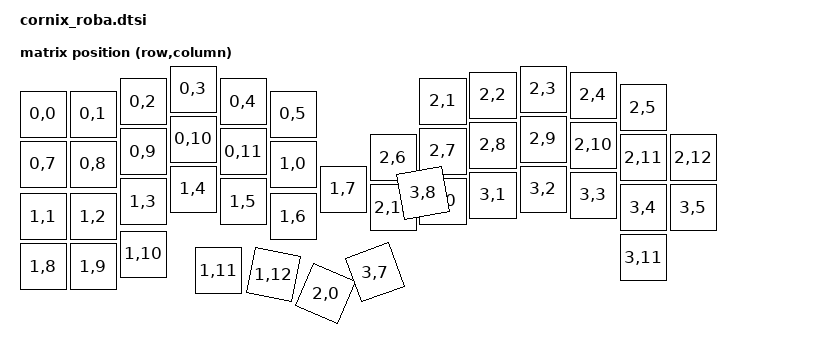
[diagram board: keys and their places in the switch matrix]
#include <dt-bindings/zmk/matrix_transform.h>
#include <physical_layouts.dtsi>

/ {
    chosen {
        zmk,kscan = &kscan0;
        zmk,physical-layout = &cornix_roba_physical_layout;
    };

    cornix_roba_physical_layout: cornix_roba_physical_layout {
        compatible = "zmk,physical-layout";
        display-name = "Cornix-roBa Layout";
        transform = <&default_transform>;
        kscan = <&kscan0>;

        keys  //                     w   h    x    y     rot    rx    ry
            // Left hand - Cornix layout (25 keys)
            // Row 1 (6 keys)
            = <&key_physical_attrs 100 100    0   50       0     0     0>
            , <&key_physical_attrs 100 100  100   50       0     0     0>
            , <&key_physical_attrs 100 100  200   25       0     0     0>
            , <&key_physical_attrs 100 100  300    0       0     0     0>
            , <&key_physical_attrs 100 100  400   25       0     0     0>
            , <&key_physical_attrs 100 100  500   50       0     0     0>
            
            // Row 2 (6 keys)
            , <&key_physical_attrs 100 100    0  150       0     0     0>
            , <&key_physical_attrs 100 100  100  150       0     0     0>
            , <&key_physical_attrs 100 100  200  125       0     0     0>
            , <&key_physical_attrs 100 100  300  100       0     0     0>
            , <&key_physical_attrs 100 100  400  125       0     0     0>
            , <&key_physical_attrs 100 100  500  150       0     0     0>
            
            // Row 3 (7 keys)
            , <&key_physical_attrs 100 100    0  255       0     0     0>
            , <&key_physical_attrs 100 100  100  255       0     0     0>
            , <&key_physical_attrs 100 100  200  225       0     0     0>
            , <&key_physical_attrs 100 100  300  200       0     0     0>
            , <&key_physical_attrs 100 100  400  225       0     0     0>
            , <&key_physical_attrs 100 100  500  255       0     0     0>
            , <&key_physical_attrs 100 100  600  200       0     0     0>
            
            // Row 4 (6 keys)
            , <&key_physical_attrs 100 100    0  355       0     0     0>
            , <&key_physical_attrs 100 100  100  355       0     0     0>
            , <&key_physical_attrs 100 100  200  330       0     0     0>
            , <&key_physical_attrs 100 100  350  363       0     0     0>
            , <&key_physical_attrs 100 100  450  370    1193   500   475>
            , <&key_physical_attrs 100 100  550  365    2300   500   475>

            // Right hand - roBa layout (21 keys)
            // Row 1 (5 keys)
            , <&key_physical_attrs 100 100  800   24       0     0     0>
            , <&key_physical_attrs 100 100  900   12       0     0     0>
            , <&key_physical_attrs 100 100 1000    0       0     0     0>
            , <&key_physical_attrs 100 100 1100   12       0     0     0>
            , <&key_physical_attrs 100 100 1200   37       0     0     0>

            // Row 2 (7 keys)
            , <&key_physical_attrs 100 100  700  137       0     0     0>
            , <&key_physical_attrs 100 100  800  124       0     0     0>
            , <&key_physical_attrs 100 100  900  112       0     0     0>
            , <&key_physical_attrs 100 100 1000  100       0     0     0>
            , <&key_physical_attrs 100 100 1100  112       0     0     0>
            , <&key_physical_attrs 100 100 1200  137       0     0     0>
            , <&key_physical_attrs 100 100 1300  137       0     0     0>

            // Row 3 (7 keys)
            , <&key_physical_attrs 100 100  700  237       0     0     0>
            , <&key_physical_attrs 100 100  800  224       0     0     0>
            , <&key_physical_attrs 100 100  900  212       0     0     0>
            , <&key_physical_attrs 100 100 1000  200       0     0     0>
            , <&key_physical_attrs 100 100 1100  212       0     0     0>
            , <&key_physical_attrs 100 100 1200  237       0     0     0>
            , <&key_physical_attrs 100 100 1300  237       0     0     0>

            // Row 4 (2 keys - thumb keys)
            , <&key_physical_attrs 100 100  650  387 (-2000)   650   387>
            , <&key_physical_attrs 100 100  763  350 (-1000)     0   350>
            , <&key_physical_attrs 100 100 1200  337       0     0     0>
            ;
    };

    default_transform: keymap_transform_0 {
        compatible = "zmk,matrix-transform";
        columns = <14>;
        rows = <4>;
        map = <
            // Row 1: Left 6 + Right 5 = 11 keys
            RC(0,0) RC(0,1) RC(0,2) RC(0,3) RC(0,4) RC(0,5)                     RC(0,7) RC(0,8) RC(0,9) RC(0,10) RC(0,11)
            
            // Row 2: Left 6 + Right 7 = 13 keys
            RC(1,0) RC(1,1) RC(1,2) RC(1,3) RC(1,4) RC(1,5)     RC(1,6) RC(1,7) RC(1,8) RC(1,9) RC(1,10) RC(1,11) RC(1,12)
            
            // Row 3: Left 7 + Right 7 = 14 keys
            RC(2,0) RC(2,1) RC(2,2) RC(2,3) RC(2,4) RC(2,5) RC(2,6)     RC(2,7) RC(2,8) RC(2,9) RC(2,10) RC(2,11) RC(2,12) RC(2,13)
            
            // Row 4: Left 6 + Right 3 = 9 keys
            RC(3,0) RC(3,1) RC(3,2) RC(3,3) RC(3,4) RC(3,5)                     RC(3,7) RC(3,8) RC(3,11)
        >;
    };

    kscan0: kscan {
        compatible = "zmk,kscan-gpio-matrix";
        label = "KSCAN";
        diode-direction = "col2row";
    };

    left_encoder: encoder_left {
        compatible = "alps,ec11";
        steps = <24>;
        status = "disabled";
    };

    right_encoder: encoder_right {
        compatible = "alps,ec11";
        steps = <24>;
        status = "disabled";
    };

    sensors: sensors {
        compatible = "zmk,keymap-sensors";
        sensors = <&left_encoder &right_encoder>;
        triggers-per-rotation = <10>;
    };

    trackball_listener: trackball_listener {
        compatible = "zmk,input-listener";
        status = "disabled";
    };
};

&spi0 {
    status = "disabled";

    trackball: trackball@0 {
        status = "disabled";
        reg = <0>;
    };
};
